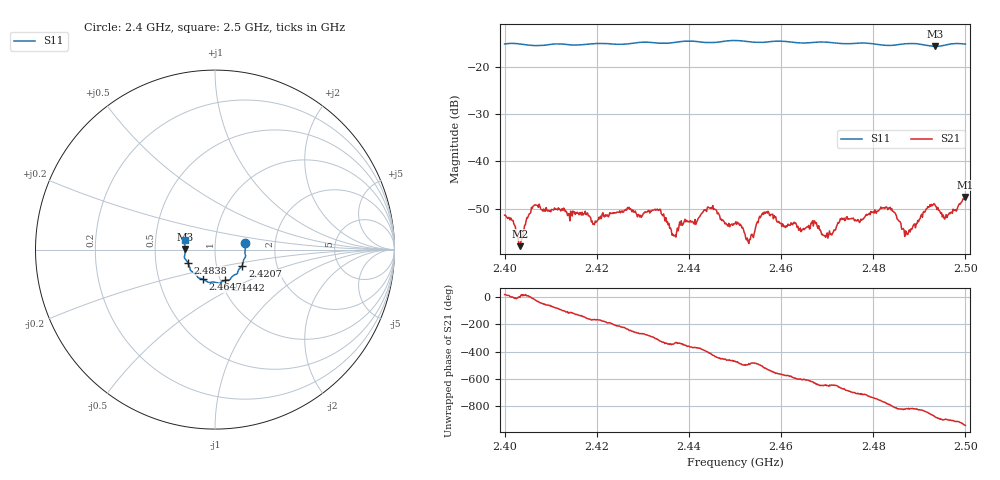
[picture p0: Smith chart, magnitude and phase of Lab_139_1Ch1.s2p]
# Hz S RI R 50
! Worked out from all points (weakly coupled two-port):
!   601 points, 2.4 GHz to 2.5 GHz, reference 50 ohm
!   highest |S21| = -47.53 dB at 2.5 GHz (marker M1); lowest = -57.9 dB at 2.4033 GHz (marker M2)
!   lowest |S11| = -15.7 dB at 2.4935 GHz (marker M3), VSWR 1.39, Z = 35.9 + j0.127 ohm
!   |S11| at or under -10 dB: start of sweep to end of sweep
!   S12 and S22 are empty: the file has one direction only
!   S11 on the Smith chart (normalised r, x): 2.4 GHz: 1.40, +0.11; 2.4207 GHz: 1.33, -0.25; 2.4442 GHz: 1.06, -0.37; 2.4647 GHz: 0.83, -0.28; 2.4838 GHz: 0.73, -0.11; 2.5 GHz: 0.71, +0.08
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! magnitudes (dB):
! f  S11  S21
! 2.4 GHz  -15.2  -51.4
! 2.4018 GHz  -15.1  -52.5
! 2.4033 GHz  -15.2  -57.9
! 2.4063 GHz  -15.5  -49.3
! 2.4167 GHz  -15.3  -51.3
! 2.4207 GHz  -15.1  -52.1
! 2.4333 GHz  -15.0  -50.3
! 2.4368 GHz  -14.9  -55.7
! 2.4442 GHz  -14.9  -49.6
! 2.45 GHz  -14.4  -53.1
! 2.4528 GHz  -14.7  -57.0
! 2.4568 GHz  -14.8  -50.7
! 2.4647 GHz  -15.0  -54.4
! 2.4667 GHz  -14.9  -53.0
! 2.4698 GHz  -14.8  -55.7
! 2.4732 GHz  -15.1  -52.0
! 2.4833 GHz  -15.5  -49.8
! 2.4838 GHz  -15.5  -50.2
! 2.4873 GHz  -15.1  -55.5
! 2.4935 GHz  -15.7  -49.4
! 2.4958 GHz  -15.4  -51.2
! 2.5 GHz  -15.2  -47.5
